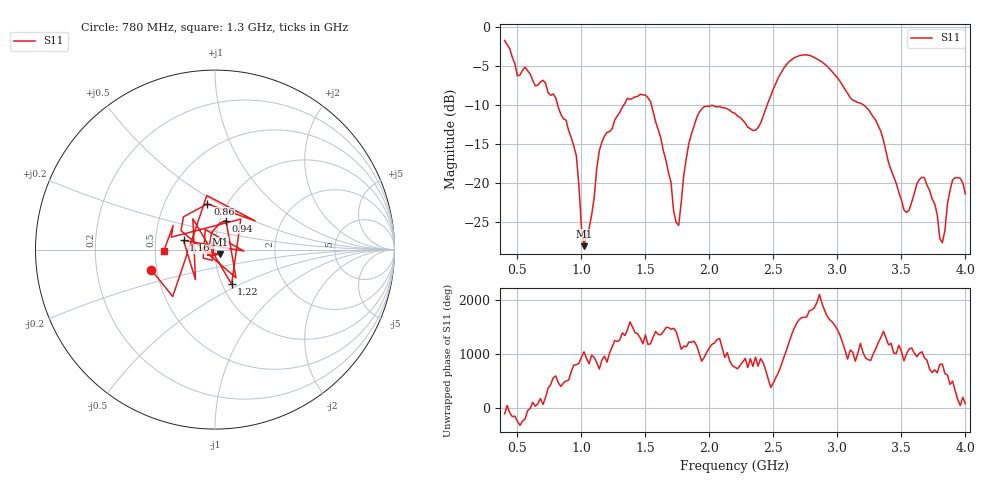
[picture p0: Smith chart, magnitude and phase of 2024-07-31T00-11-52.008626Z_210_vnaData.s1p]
!Created with skrf (http://scikit-rf.org).
# Hz S RI R 50.0
!freq ReS11 ImS11
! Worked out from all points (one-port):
!   181 points, 400 MHz to 4 GHz, reference 50 ohm
!   lowest |S11| = -28.1 dB at 1.02 GHz (marker M1), VSWR 1.08, Z = 52.9 - j2.83 ohm
!   |S11| at or under -10 dB: 814.8 MHz to 1.33 GHz (515.6 MHz wide, 48.1 % of centre); 1.547 GHz to 2.02 GHz (472.3 MHz wide, 26.5 % of centre); 3.206 GHz to end of sweep (the widest 3 of 4)
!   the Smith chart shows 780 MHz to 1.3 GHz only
!   S11 on the Smith chart (normalised r, x): 780 MHz: 0.47, -0.12; 860 MHz: 0.81, +0.44; 940 MHz: 1.07, +0.36; 1.16 GHz: 0.70, +0.07; 1.22 GHz: 1.11, -0.45; 1.3 GHz: 0.56, -0.01
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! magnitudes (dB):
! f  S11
! 400 MHz  -1.7
! 500 MHz  -6.2
! 560 MHz  -5.1
! 780 MHz  -8.6
! 860 MHz  -11.8
! 940 MHz  -15.2
! 960 MHz  -16.5
! 1.02 GHz  -28.1
! 1.08 GHz  -24.1
! 1.16 GHz  -14.8
! 1.22 GHz  -13.4
! 1.3 GHz  -10.9
! 1.54 GHz  -9.5
! 1.76 GHz  -25.5
! 1.84 GHz  -14.9
! 1.92 GHz  -10.9
! 2.2 GHz  -11.0
! 2.36 GHz  -13.2
! 2.66 GHz  -3.9
! 2.88 GHz  -4.5
! 3.1 GHz  -9.0
! 3.3 GHz  -12.0
! 3.52 GHz  -23.5
! 3.56 GHz  -23.5
! 3.68 GHz  -19.3
! 3.82 GHz  -27.7
! 3.9 GHz  -19.6
! 4 GHz  -21.4
